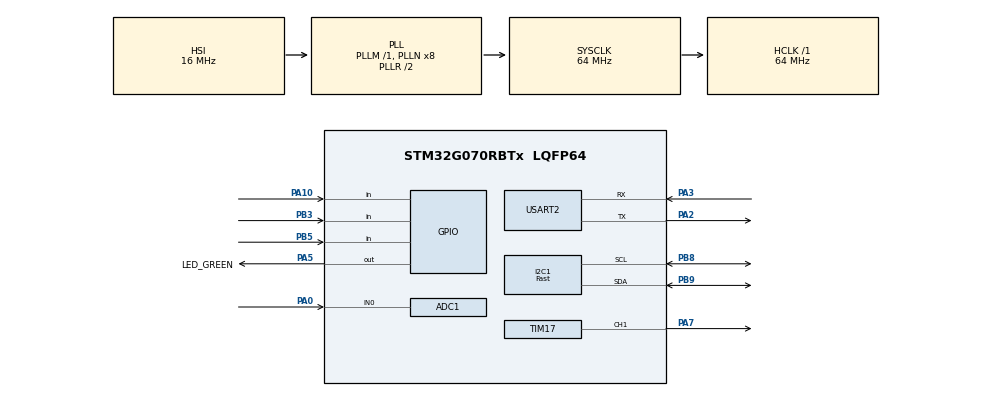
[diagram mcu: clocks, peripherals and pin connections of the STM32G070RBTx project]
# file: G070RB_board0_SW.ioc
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ADC1.Channel-1\#ChannelRegularConversion=ADC_CHANNEL_0
ADC1.ClockPrescaler=ADC_CLOCK_SYNC_PCLK_DIV2
ADC1.ContinuousConvMode=ENABLE
ADC1.DMAContinuousRequests=DISABLE
ADC1.NbrOfConversion=1
ADC1.NbrOfConversionFlag=1
ADC1.Overrun=ADC_OVR_DATA_OVERWRITTEN
ADC1.Rank-1\#ChannelRegularConversion=1
ADC1.Resolution=ADC_RESOLUTION_6B
ADC1.SamplingTime-1\#ChannelRegularConversion=ADC_SAMPLINGTIME_COMMON_1
ADC1.SamplingTimeCommon1=ADC_SAMPLETIME_1CYCLE_5
ADC1.SamplingTimeCommon2=ADC_SAMPLETIME_1CYCLE_5
ADC1.SelectedChannel=ADC_CHANNEL_0
ADC1.Sequencer=FULLY_CONFIGURABLE
ADC1.master=1
I2C1.I2C_Speed_Mode=I2C_Fast
I2C1.Timing=0x00602173
Mcu.Family=STM32G0
Mcu.Name=STM32G070RBTx
Mcu.Package=LQFP64
NVIC.TIM16_IRQn=true\:0\:0\:false\:false\:true\:true\:true\:true
PA0.Mode=IN0
PA0.Signal=ADC1_IN0
PA10.GPIO_PuPd=GPIO_PULLUP
PA10.Signal=GPIO_Input
PA13.GPIO_Label=TMS
PA13.Mode=Serial_Wire
PA13.Signal=SYS_SWDIO
PA14-BOOT0.GPIO_Label=TCK
PA14-BOOT0.Mode=Serial_Wire
PA14-BOOT0.Signal=SYS_SWCLK
PA2.GPIO_PuPd=GPIO_PULLUP
PA2.Mode=Asynchronous
PA2.Signal=USART2_TX
PA3.GPIO_PuPd=GPIO_PULLUP
PA3.Mode=Asynchronous
PA3.Signal=USART2_RX
PA5.GPIO_Label=LED_GREEN
PA5.GPIO_Speed=GPIO_SPEED_FREQ_HIGH
PA5.Signal=GPIO_Output
PA7.Signal=S_TIM17_CH1
PB3.GPIO_PuPd=GPIO_PULLUP
PB3.Signal=GPIO_Input
PB5.GPIO_PuPd=GPIO_PULLUP
PB5.Signal=GPIO_Input
PB8.Mode=I2C
PB8.Signal=I2C1_SCL
PB9.Mode=I2C
PB9.Signal=I2C1_SDA
PC13.Mode=SYS_WakeUp1
PC13.Signal=SYS_WKUP2
PC14-OSC32_IN\ (PC14).Mode=LSE-External-Oscillator
PC14-OSC32_IN\ (PC14).Signal=RCC_OSC32_IN
PC15-OSC32_OUT\ (PC15).Mode=LSE-External-Oscillator
PC15-OSC32_OUT\ (PC15).Signal=RCC_OSC32_OUT
PF0-OSC_IN\ (PF0).GPIO_Label=MCO
PF0-OSC_IN\ (PF0).Mode=HSE-External-Clock-Source
PF0-OSC_IN\ (PF0).Signal=RCC_OSC_IN
ProjectManager.HeapSize=0x200
ProjectManager.StackSize=0x400
ProjectManager.TargetToolchain=STM32CubeIDE
RCC.ADCFreq_Value=64000000
RCC.AHBFreq_Value=64000000
RCC.CortexFreq_Value=64000000
RCC.EXTERNAL_CLOCK_VALUE=12288000
RCC.HCLKFreq_Value=64000000
RCC.HSE_VALUE=8000000
RCC.HSI_VALUE=16000000
RCC.SYSCLKFreq_VALUE=64000000
RCC.SYSCLKSource=RCC_SYSCLKSOURCE_PLLCLK
RCC.VCOOutputFreq_Value=128000000
SH.S_TIM17_CH1.0=TIM17_CH1,Output Compare1 CH1
TIM16.AutoReloadPreload=TIM_AUTORELOAD_PRELOAD_ENABLE
TIM16.Period=9
TIM16.Prescaler=63
TIM17.AutoReloadPreload=TIM_AUTORELOAD_PRELOAD_ENABLE
TIM17.Channel=TIM_CHANNEL_1
TIM17.OC1Preload=ENABLE
TIM17.OCMode_1=TIM_OCMODE_TOGGLE
TIM17.Period=1000
TIM17.Prescaler=63999
TIM17.Pulse=500
USART2.VirtualMode-Asynchronous=VM_ASYNC
USART2.WordLength=WORDLENGTH_7B
VP_TIM16_VS_ClockSourceINT.Mode=Enable_Timer
VP_TIM17_VS_ClockSourceINT.Mode=Enable_Timer
board=NUCLEO-G070RB

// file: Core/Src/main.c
/* USER CODE BEGIN Header */
/**
  ******************************************************************************
  * @file           : main.c
  * @brief          : Main program body
  ******************************************************************************
  * @attention
  *
  * Copyright (c) 2023 STMicroelectronics.
  * All rights reserved.
  *
  * This software is licensed under terms that can be found in the LICENSE file
  * in the root directory of this software component.
  * If no LICENSE file comes with this software, it is provided AS-IS.
  *
  ******************************************************************************
  */
/* USER CODE END Header */
#include "main.h"

/* USER CODE BEGIN Includes */
#include <stdio.h>
#include "my_SSD1306.h"
#include "PushButtons.h"

/* USER CODE END Includes */

ADC_HandleTypeDef hadc1;

I2C_HandleTypeDef hi2c1;

TIM_HandleTypeDef htim16;
TIM_HandleTypeDef htim17;

UART_HandleTypeDef huart2;

/* USER CODE BEGIN PV */

volatile uint16_t ADC_result_buffer;

/* USER CODE END PV */

void SystemClock_Config(void);
static void MX_GPIO_Init(void);
static void MX_USART2_UART_Init(void);
static void MX_I2C1_Init(void);
static void MX_TIM17_Init(void);
static void MX_ADC1_Init(void);
static void MX_TIM16_Init(void);

/* USER CODE BEGIN 0 */
void HAL_TIM_PeriodElapsedCallback(TIM_HandleTypeDef *htim){

    if(htim == &htim16) {
        HAL_GPIO_TogglePin(GPIOA, GPIO_PIN_5);
        ADC_result_buffer=HAL_ADC_GetValue(&hadc1);
        }
}
/* USER CODE END 0 */

int main(void)
{
  /* USER CODE BEGIN 1 */
    setbuf(stdout, NULL);
  /* USER CODE END 1 */

  /* MCU Configuration--------------------------------------------------------*/

  /* Reset of all peripherals, Initializes the Flash interface and the Systick. */
  HAL_Init();

  /* Configure the system clock */
  SystemClock_Config();

  /* Initialize all configured peripherals */
  MX_GPIO_Init();
  MX_USART2_UART_Init();
  MX_I2C1_Init();
  MX_TIM17_Init();
  MX_ADC1_Init();
  MX_TIM16_Init();
  /* USER CODE BEGIN 2 */

	HAL_ADCEx_Calibration_Start(&hadc1);

	HAL_ADC_Start(&hadc1);
	//HAL_ADC_Start_DMA(&hadc1, (uint32_t *)&ADC_result_buffer, sizeof(ADC_result_buffer) / sizeof(ADC_result_buffer[0]));
	//HAL_ADC_Start_DMA(&hadc1, (uint32_t *)&ADC_result_buffer, 1);
	//hdma_adc1.Instance->CCR &= ~(DMA_IT_TC | DMA_IT_HT);
	//   __HAL_DMA_DISABLE_IT(&hdma_adc, DMA_IT_TC);
	//__HAL_DMA_DISABLE_IT(&hdma_adc1, DMA_IT_TC);

	HAL_TIM_Base_Start_IT(&htim16);

	HAL_TIM_PWM_Start(&htim17, TIM_CHANNEL_1);

	OLED_Init(&hi2c1);

	OLED_clear(); // and set cursor to 0,0
	//      12345678901234
	printf("Boot nucleo\n");
	printf("  G070RB");

	HAL_Delay(1000);

	OLED_clear(); // and set cursor to 0,0
	//printf("push button\n");

	// 上から見て PA10 PB3 PB5 の順番 CPU内プルアップ必要

	Button_Init(GPIOB, GPIO_PIN_5);   // bit 0
	Button_Init(GPIOB, GPIO_PIN_3);   // bit 1
	Button_Init(GPIOA, GPIO_PIN_10);  // bit 2

	enum {
		SAMPLING, STOPPED
	} AD_STATUS = SAMPLING;

	enum {
		RISE, FALL
	} TRIGGER_SELECT = RISE;

	struct {
		char *name;
		uint16_t prescaler;
		uint16_t reload;
	} sampling_table[] = {
			{ "100k", 63, 9 },
			{ " 10k", 63, 99 },
			{ "  1k", 63, 999 },
			{ " 100", 639, 999 }
	};

	uint8_t SAMPLING_VALUE = 1;

  /* USER CODE END 2 */

  /* Infinite loop */
  while (1)
  {

    /* USER CODE BEGIN 3 */

	  OLED_set_cursor(0, 2);
	  if (AD_STATUS == SAMPLING) {
		  printf("RUN  ");
	  } else {
		  printf("STOP ");
	  }

	  //OLED_set_cursor(0, 2);
	  if (TRIGGER_SELECT == RISE) {
		  printf("_|- ");
	  } else {
		  printf("-|_ ");
	  }
	  printf("%s", sampling_table[SAMPLING_VALUE].name);

	  //   PA10 PB3 PB5
	  // bit 2   1   0

	uint32_t k = Button_Loop();
	if (k) {
		Button_Clear();
		if (AD_STATUS == SAMPLING) {
			if (k & 0b100) {
				// TRIGGER_SELECT = (!(TRIGGER_SELECT)) & 1;
				AD_STATUS = STOPPED;
			} else {
				if (k & 0b10) {
					if (SAMPLING_VALUE>0) { SAMPLING_VALUE--; }
				} else {
					if (SAMPLING_VALUE<3) { SAMPLING_VALUE++; }
				}
			}
		} else {
			if (k & 0b100) {
				// TRIGGER_SELECT = (!(TRIGGER_SELECT)) & 1;
				AD_STATUS = SAMPLING;
			} else {
				if (k & 0b10) {
					TRIGGER_SELECT=FALL;
				} else {
					TRIGGER_SELECT=RISE;
				}
			}
		}
	}

  }
  /* USER CODE END 3 */
}

void SystemClock_Config(void)
{
  RCC_OscInitTypeDef RCC_OscInitStruct = {0};
  RCC_ClkInitTypeDef RCC_ClkInitStruct = {0};

  /** Configure the main internal regulator output voltage
  */
  HAL_PWREx_ControlVoltageScaling(PWR_REGULATOR_VOLTAGE_SCALE1);

  /** Initializes the RCC Oscillators according to the specified parameters
  * in the RCC_OscInitTypeDef structure.
  */
  RCC_OscInitStruct.OscillatorType = RCC_OSCILLATORTYPE_HSI;
  RCC_OscInitStruct.HSIState = RCC_HSI_ON;
  RCC_OscInitStruct.HSIDiv = RCC_HSI_DIV1;
  RCC_OscInitStruct.HSICalibrationValue = RCC_HSICALIBRATION_DEFAULT;
  RCC_OscInitStruct.PLL.PLLState = RCC_PLL_ON;
  RCC_OscInitStruct.PLL.PLLSource = RCC_PLLSOURCE_HSI;
  RCC_OscInitStruct.PLL.PLLM = RCC_PLLM_DIV1;
  RCC_OscInitStruct.PLL.PLLN = 8;
  RCC_OscInitStruct.PLL.PLLP = RCC_PLLP_DIV2;
  RCC_OscInitStruct.PLL.PLLR = RCC_PLLR_DIV2;
  if (HAL_RCC_OscConfig(&RCC_OscInitStruct) != HAL_OK)
  {
    Error_Handler();
  }

  /** Initializes the CPU, AHB and APB buses clocks
  */
  RCC_ClkInitStruct.ClockType = RCC_CLOCKTYPE_HCLK|RCC_CLOCKTYPE_SYSCLK
                              |RCC_CLOCKTYPE_PCLK1;
  RCC_ClkInitStruct.SYSCLKSource = RCC_SYSCLKSOURCE_PLLCLK;
  RCC_ClkInitStruct.AHBCLKDivider = RCC_SYSCLK_DIV1;
  RCC_ClkInitStruct.APB1CLKDivider = RCC_HCLK_DIV1;

  if (HAL_RCC_ClockConfig(&RCC_ClkInitStruct, FLASH_LATENCY_2) != HAL_OK)
  {
    Error_Handler();
  }
}

static void MX_ADC1_Init(void)
{

  ADC_ChannelConfTypeDef sConfig = {0};

  /** Configure the global features of the ADC (Clock, Resolution, Data Alignment and number of conversion)
  */
  hadc1.Instance = ADC1;
  hadc1.Init.ClockPrescaler = ADC_CLOCK_SYNC_PCLK_DIV2;
  hadc1.Init.Resolution = ADC_RESOLUTION_6B;
  hadc1.Init.DataAlign = ADC_DATAALIGN_RIGHT;
  hadc1.Init.ScanConvMode = ADC_SCAN_DISABLE;
  hadc1.Init.EOCSelection = ADC_EOC_SINGLE_CONV;
  hadc1.Init.LowPowerAutoWait = DISABLE;
  hadc1.Init.LowPowerAutoPowerOff = DISABLE;
  hadc1.Init.ContinuousConvMode = ENABLE;
  hadc1.Init.NbrOfConversion = 1;
  hadc1.Init.ExternalTrigConv = ADC_SOFTWARE_START;
  hadc1.Init.ExternalTrigConvEdge = ADC_EXTERNALTRIGCONVEDGE_NONE;
  hadc1.Init.DMAContinuousRequests = DISABLE;
  hadc1.Init.Overrun = ADC_OVR_DATA_OVERWRITTEN;
  hadc1.Init.SamplingTimeCommon1 = ADC_SAMPLETIME_1CYCLE_5;
  hadc1.Init.SamplingTimeCommon2 = ADC_SAMPLETIME_1CYCLE_5;
  hadc1.Init.OversamplingMode = DISABLE;
  hadc1.Init.TriggerFrequencyMode = ADC_TRIGGER_FREQ_HIGH;
  if (HAL_ADC_Init(&hadc1) != HAL_OK)
  {
    Error_Handler();
  }

  /** Configure Regular Channel
  */
  sConfig.Channel = ADC_CHANNEL_0;
  sConfig.Rank = ADC_REGULAR_RANK_1;
  sConfig.SamplingTime = ADC_SAMPLINGTIME_COMMON_1;
  if (HAL_ADC_ConfigChannel(&hadc1, &sConfig) != HAL_OK)
  {
    Error_Handler();
  }

}

static void MX_I2C1_Init(void)
{

  hi2c1.Instance = I2C1;
  hi2c1.Init.Timing = 0x00602173;
  hi2c1.Init.OwnAddress1 = 0;
  hi2c1.Init.AddressingMode = I2C_ADDRESSINGMODE_7BIT;
  hi2c1.Init.DualAddressMode = I2C_DUALADDRESS_DISABLE;
  hi2c1.Init.OwnAddress2 = 0;
  hi2c1.Init.OwnAddress2Masks = I2C_OA2_NOMASK;
  hi2c1.Init.GeneralCallMode = I2C_GENERALCALL_DISABLE;
  hi2c1.Init.NoStretchMode = I2C_NOSTRETCH_DISABLE;
  if (HAL_I2C_Init(&hi2c1) != HAL_OK)
  {
    Error_Handler();
  }

  /** Configure Analogue filter
  */
  if (HAL_I2CEx_ConfigAnalogFilter(&hi2c1, I2C_ANALOGFILTER_ENABLE) != HAL_OK)
  {
    Error_Handler();
  }

  /** Configure Digital filter
  */
  if (HAL_I2CEx_ConfigDigitalFilter(&hi2c1, 0) != HAL_OK)
  {
    Error_Handler();
  }

}

static void MX_TIM16_Init(void)
{

  htim16.Instance = TIM16;
  htim16.Init.Prescaler = 63;
  htim16.Init.CounterMode = TIM_COUNTERMODE_UP;
  htim16.Init.Period = 9;
  htim16.Init.ClockDivision = TIM_CLOCKDIVISION_DIV1;
  htim16.Init.RepetitionCounter = 0;
  htim16.Init.AutoReloadPreload = TIM_AUTORELOAD_PRELOAD_ENABLE;
  if (HAL_TIM_Base_Init(&htim16) != HAL_OK)
  {
    Error_Handler();
  }

}

static void MX_TIM17_Init(void)
{

  TIM_OC_InitTypeDef sConfigOC = {0};
  TIM_BreakDeadTimeConfigTypeDef sBreakDeadTimeConfig = {0};

  htim17.Instance = TIM17;
  htim17.Init.Prescaler = 63999;
  htim17.Init.CounterMode = TIM_COUNTERMODE_UP;
  htim17.Init.Period = 1000;
  htim17.Init.ClockDivision = TIM_CLOCKDIVISION_DIV1;
  htim17.Init.RepetitionCounter = 0;
  htim17.Init.AutoReloadPreload = TIM_AUTORELOAD_PRELOAD_ENABLE;
  if (HAL_TIM_Base_Init(&htim17) != HAL_OK)
  {
    Error_Handler();
  }
  if (HAL_TIM_OC_Init(&htim17) != HAL_OK)
  {
    Error_Handler();
  }
  sConfigOC.OCMode = TIM_OCMODE_TOGGLE;
  sConfigOC.Pulse = 500;
  sConfigOC.OCPolarity = TIM_OCPOLARITY_HIGH;
  sConfigOC.OCNPolarity = TIM_OCNPOLARITY_HIGH;
  sConfigOC.OCFastMode = TIM_OCFAST_DISABLE;
  sConfigOC.OCIdleState = TIM_OCIDLESTATE_RESET;
  sConfigOC.OCNIdleState = TIM_OCNIDLESTATE_RESET;
  if (HAL_TIM_OC_ConfigChannel(&htim17, &sConfigOC, TIM_CHANNEL_1) != HAL_OK)
  {
    Error_Handler();
  }
  __HAL_TIM_ENABLE_OCxPRELOAD(&htim17, TIM_CHANNEL_1);
  sBreakDeadTimeConfig.OffStateRunMode = TIM_OSSR_DISABLE;
  sBreakDeadTimeConfig.OffStateIDLEMode = TIM_OSSI_DISABLE;
  sBreakDeadTimeConfig.LockLevel = TIM_LOCKLEVEL_OFF;
  sBreakDeadTimeConfig.DeadTime = 0;
  sBreakDeadTimeConfig.BreakState = TIM_BREAK_DISABLE;
  sBreakDeadTimeConfig.BreakPolarity = TIM_BREAKPOLARITY_HIGH;
  sBreakDeadTimeConfig.BreakFilter = 0;
  sBreakDeadTimeConfig.AutomaticOutput = TIM_AUTOMATICOUTPUT_DISABLE;
  if (HAL_TIMEx_ConfigBreakDeadTime(&htim17, &sBreakDeadTimeConfig) != HAL_OK)
  {
    Error_Handler();
  }
  HAL_TIM_MspPostInit(&htim17);

}

static void MX_USART2_UART_Init(void)
{

  huart2.Instance = USART2;
  huart2.Init.BaudRate = 115200;
  huart2.Init.WordLength = UART_WORDLENGTH_7B;
  huart2.Init.StopBits = UART_STOPBITS_1;
  huart2.Init.Parity = UART_PARITY_NONE;
  huart2.Init.Mode = UART_MODE_TX_RX;
  huart2.Init.HwFlowCtl = UART_HWCONTROL_NONE;
  huart2.Init.OverSampling = UART_OVERSAMPLING_16;
  huart2.Init.OneBitSampling = UART_ONE_BIT_SAMPLE_DISABLE;
  huart2.Init.ClockPrescaler = UART_PRESCALER_DIV1;
  huart2.AdvancedInit.AdvFeatureInit = UART_ADVFEATURE_NO_INIT;
  if (HAL_UART_Init(&huart2) != HAL_OK)
  {
    Error_Handler();
  }
  if (HAL_UARTEx_SetTxFifoThreshold(&huart2, UART_TXFIFO_THRESHOLD_1_8) != HAL_OK)
  {
    Error_Handler();
  }
  if (HAL_UARTEx_SetRxFifoThreshold(&huart2, UART_RXFIFO_THRESHOLD_1_8) != HAL_OK)
  {
    Error_Handler();
  }
  if (HAL_UARTEx_DisableFifoMode(&huart2) != HAL_OK)
  {
    Error_Handler();
  }

}

static void MX_GPIO_Init(void)
{
  GPIO_InitTypeDef GPIO_InitStruct = {0};

  /* GPIO Ports Clock Enable */
  __HAL_RCC_GPIOC_CLK_ENABLE();
  __HAL_RCC_GPIOF_CLK_ENABLE();
  __HAL_RCC_GPIOA_CLK_ENABLE();
  __HAL_RCC_GPIOB_CLK_ENABLE();

  /*Configure GPIO pin Output Level */
  HAL_GPIO_WritePin(LED_GREEN_GPIO_Port, LED_GREEN_Pin, GPIO_PIN_RESET);

  /*Configure GPIO pin : LED_GREEN_Pin */
  GPIO_InitStruct.Pin = LED_GREEN_Pin;
  GPIO_InitStruct.Mode = GPIO_MODE_OUTPUT_PP;
  GPIO_InitStruct.Pull = GPIO_NOPULL;
  GPIO_InitStruct.Speed = GPIO_SPEED_FREQ_HIGH;
  HAL_GPIO_Init(LED_GREEN_GPIO_Port, &GPIO_InitStruct);

  /*Configure GPIO pin : PA10 */
  GPIO_InitStruct.Pin = GPIO_PIN_10;
  GPIO_InitStruct.Mode = GPIO_MODE_INPUT;
  GPIO_InitStruct.Pull = GPIO_PULLUP;
  HAL_GPIO_Init(GPIOA, &GPIO_InitStruct);

  /*Configure GPIO pins : PB3 PB5 */
  GPIO_InitStruct.Pin = GPIO_PIN_3|GPIO_PIN_5;
  GPIO_InitStruct.Mode = GPIO_MODE_INPUT;
  GPIO_InitStruct.Pull = GPIO_PULLUP;
  HAL_GPIO_Init(GPIOB, &GPIO_InitStruct);

}

/* USER CODE BEGIN 4 */

// printf from
// https://yukblog.net/stm32cubeide-printf-uart/

int _write(int file, char *ptr, int len)
{
  //HAL_UART_Transmit(&huart2,(uint8_t *)ptr,len,10);
	for (int i=0; i<len; i++) {
		OLED_put_c(ptr[i]);
	}
  return len;
}

/* USER CODE END 4 */

void Error_Handler(void)
{
  __disable_irq();
  while (1)
  {
  }
}
